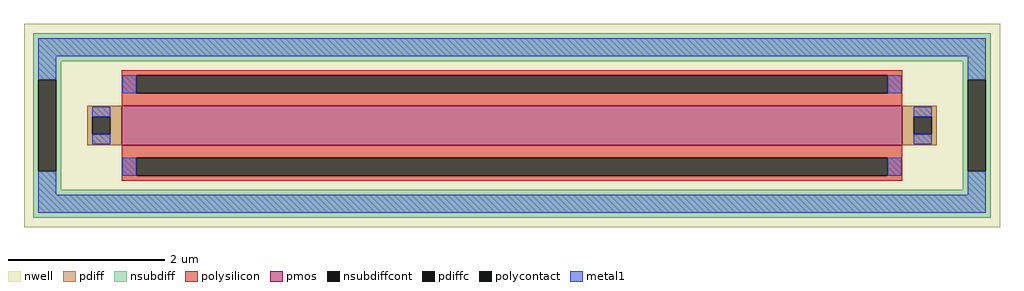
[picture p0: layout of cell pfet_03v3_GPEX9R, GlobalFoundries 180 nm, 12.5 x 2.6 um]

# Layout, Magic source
magic
tech gf180mcuD
magscale 1 10
<< nwell >>
rect -1250 -260 1250 260
<< pmos >>
rect -1000 -50 1000 50
<< pdiff >>
rect -1088 23 -1000 50
rect -1088 -23 -1075 23
rect -1029 -23 -1000 23
rect -1088 -50 -1000 -23
rect 1000 23 1088 50
rect 1000 -23 1029 23
rect 1075 -23 1088 23
rect 1000 -50 1088 -23
<< pdiffc >>
rect -1075 -23 -1029 23
rect 1029 -23 1075 23
<< nsubdiff >>
rect -1226 164 1226 236
rect -1226 117 -1154 164
rect -1226 -117 -1213 117
rect -1167 -117 -1154 117
rect 1154 117 1226 164
rect -1226 -164 -1154 -117
rect 1154 -117 1167 117
rect 1213 -117 1226 117
rect 1154 -164 1226 -117
rect -1226 -236 1226 -164
<< nsubdiffcont >>
rect -1213 -117 -1167 117
rect 1167 -117 1213 117
<< polysilicon >>
rect -1000 129 1000 142
rect -1000 83 -963 129
rect 963 83 1000 129
rect -1000 50 1000 83
rect -1000 -83 1000 -50
rect -1000 -129 -963 -83
rect 963 -129 1000 -83
rect -1000 -142 1000 -129
<< polycontact >>
rect -963 83 963 129
rect -963 -129 963 -83
<< metal1 >>
rect -1213 177 1213 223
rect -1213 117 -1167 177
rect -998 83 -963 129
rect 963 83 998 129
rect 1167 117 1213 177
rect -1075 23 -1029 48
rect -1075 -48 -1029 -23
rect 1029 23 1075 48
rect 1029 -48 1075 -23
rect -1213 -177 -1167 -117
rect -998 -129 -963 -83
rect 963 -129 998 -83
rect 1167 -177 1213 -117
rect -1213 -223 1213 -177
<< properties >>
string FIXED_BBOX -1190 -200 1190 200
<< end >>
